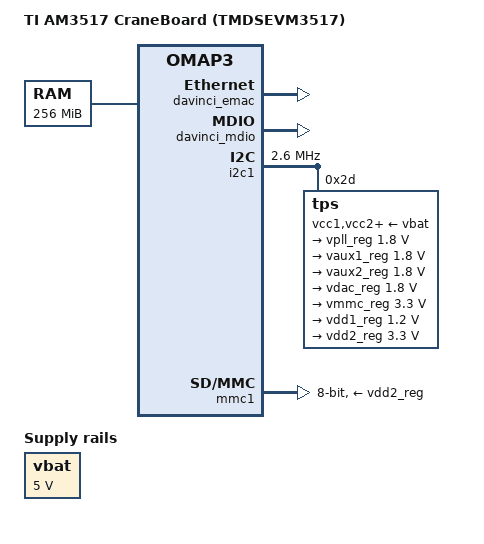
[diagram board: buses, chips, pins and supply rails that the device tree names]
// SPDX-License-Identifier: GPL-2.0-only
/*
 * See craneboard.org for more details
 *
 * Copyright (C) 2013 Texas Instruments Incorporated - https://www.ti.com/
 */
/dts-v1/;

#include "am3517.dtsi"

/ {
	model = "TI AM3517 CraneBoard (TMDSEVM3517)";
	compatible = "ti,am3517-craneboard", "ti,am3517", "ti,omap3";

	memory@80000000 {
		device_type = "memory";
		reg = <0x80000000 0x10000000>;	/* 256 MB */
	};

	vbat: fixedregulator {
		compatible = "regulator-fixed";
		regulator-name = "vbat";
		regulator-min-microvolt = <5000000>;
		regulator-max-microvolt = <5000000>;
		regulator-boot-on;
	};
};

&davinci_emac {
	status = "okay";
};

&davinci_mdio {
	status = "okay";
};

&i2c1 {
	clock-frequency = <2600000>;

	tps: tps@2d {
		reg = <0x2d>;
	};
};

&i2c2 {
	clock-frequency = <400000>;
	/* goes to expansion connector */
	status = "disabled";
};

&i2c3 {
	clock-frequency = <400000>;
	/* goes to expansion connector */
	status = "disabled";
};

&mmc1 {
	vmmc-supply = <&vdd2_reg>;
	bus-width = <8>;
};

&mmc2 {
	/* goes to expansion connector */
	status = "disabled";
};

&mmc3 {
	/* goes to expansion connector */
	status = "disabled";
};

#include "tps65910.dtsi"

&omap3_pmx_core {
	tps_pins: pinmux_tps_pins {
		pinctrl-single,pins = <
			OMAP3_CORE1_IOPAD(0x21e0, PIN_INPUT_PULLUP | MUX_MODE0) /* sys_nirq.sys_nirq */
		>;
	};
};

&tps {
	pinctrl-names = "default";
	pinctrl-0 = <&tps_pins>;

	interrupts = <7>; /* SYS_NIRQ cascaded to intc */
	interrupt-parent = <&intc>;

	ti,en-ck32k-xtal;

	vcc1-supply = <&vbat>;
	vcc2-supply = <&vbat>;
	vcc3-supply = <&vbat>;
	vcc4-supply = <&vbat>;
	vcc5-supply = <&vbat>;
	vcc6-supply = <&vbat>;
	vcc7-supply = <&vbat>;
	vccio-supply = <&vbat>;

	regulators {
		vrtc_reg: regulator@0 {
			regulator-always-on;
		};

		vio_reg: regulator@1 {
			regulator-always-on;
		};

		/*
		 * Unused:
		 * VDIG1=2.7V,300mA max
		 * VDIG2=1.8V,300mA max
		 */

		vpll_reg: regulator@7 {
			/* VDDS_DPLL_1V8 */
			regulator-min-microvolt = <1800000>;
			regulator-max-microvolt = <1800000>;
			regulator-always-on;
		};

		vaux1_reg: regulator@9 {
			/* VDDS_SRAM_1V8 */
			regulator-min-microvolt = <1800000>;
			regulator-max-microvolt = <1800000>;
			regulator-always-on;
		};

		vaux2_reg: regulator@10 {
			/* VDDA1P8V_USBPHY */
			regulator-min-microvolt = <1800000>;
			regulator-max-microvolt = <1800000>;
			regulator-always-on;
		};

		/* VAUX33 unused */

		vdac_reg: regulator@8 {
			/* VDDA_DAC_1V8 */
			regulator-min-microvolt = <1800000>;
			regulator-max-microvolt = <1800000>;
			regulator-always-on;
		};

		vmmc_reg: regulator@12 {
			/* VDDA3P3V_USBPHY */
			regulator-min-microvolt = <3300000>;
			regulator-max-microvolt = <3300000>;
			regulator-always-on;
		};

		vdd1_reg: regulator@2 {
			/* VDD_CORE */
			regulator-name = "vdd_core";
			regulator-min-microvolt = <1200000>;
			regulator-max-microvolt = <1200000>;
			regulator-boot-on;
			regulator-always-on;
		};

		vdd2_reg: regulator@3 {
			/* VDDSHV_3V3 */
			regulator-name = "vdd_shv";
			regulator-min-microvolt = <3300000>;
			regulator-max-microvolt = <3300000>;
			regulator-always-on;
		};

		/* VDD3 unused */
	};
};
